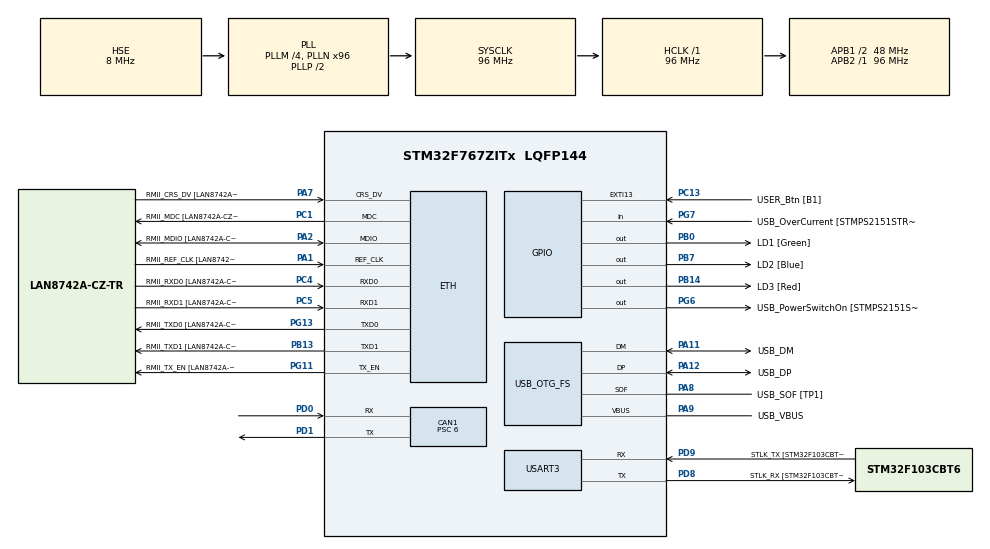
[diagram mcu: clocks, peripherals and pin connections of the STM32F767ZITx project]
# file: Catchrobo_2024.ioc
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CAN1.BS1=CAN_BS1_6TQ
CAN1.CalculateBaudRate=1000000
CAN1.CalculateTimeBit=1000
CAN1.CalculateTimeQuantum=125.0
CAN1.Prescaler=6
CAN1.TXFP=ENABLE
Dma.Request0=USART3_TX
Dma.USART3_TX.0.Direction=DMA_MEMORY_TO_PERIPH
Dma.USART3_TX.0.FIFOMode=DMA_FIFOMODE_DISABLE
Dma.USART3_TX.0.Instance=DMA1_Stream3
Dma.USART3_TX.0.MemDataAlignment=DMA_MDATAALIGN_BYTE
Dma.USART3_TX.0.MemInc=DMA_MINC_ENABLE
Dma.USART3_TX.0.Mode=DMA_NORMAL
Dma.USART3_TX.0.PeriphDataAlignment=DMA_PDATAALIGN_BYTE
Dma.USART3_TX.0.PeriphInc=DMA_PINC_DISABLE
Dma.USART3_TX.0.Priority=DMA_PRIORITY_LOW
ETH.MediaInterface=HAL_ETH_RMII_MODE
ETH.PHY_Name=LAN8742A_PHY_ADDRESS
ETH.PHY_Value=0
ETH.PhyAddress=0
Mcu.Family=STM32F7
Mcu.Name=STM32F767ZITx
Mcu.Package=LQFP144
NVIC.CAN1_RX0_IRQn=true\:0\:0\:false\:false\:true\:true\:true\:true
NVIC.CAN1_RX1_IRQn=true\:0\:0\:false\:false\:true\:true\:true\:true
NVIC.CAN1_TX_IRQn=true\:0\:0\:false\:false\:true\:true\:true\:true
NVIC.DMA1_Stream3_IRQn=true\:0\:0\:false\:false\:true\:false\:true\:true
NVIC.PriorityGroup=NVIC_PRIORITYGROUP_4
NVIC.USART3_IRQn=true\:0\:0\:false\:false\:true\:true\:true\:true
PA1.GPIO_Label=RMII_REF_CLK [LAN8742A-CZ-TR_REFCLK0]
PA1.Mode=RMII
PA1.Signal=ETH_REF_CLK
PA10.GPIO_Label=USB_ID
PA10.Signal=USB_OTG_FS_ID
PA11.GPIO_Label=USB_DM
PA11.Mode=Device_Only
PA11.Signal=USB_OTG_FS_DM
PA12.GPIO_Label=USB_DP
PA12.Mode=Device_Only
PA12.Signal=USB_OTG_FS_DP
PA13.GPIO_Label=TMS
PA13.Mode=Serial_Wire
PA13.Signal=SYS_JTMS-SWDIO
PA14.GPIO_Label=TCK
PA14.Mode=Serial_Wire
PA14.Signal=SYS_JTCK-SWCLK
PA2.GPIO_Label=RMII_MDIO [LAN8742A-CZ-TR_MDIO]
PA2.Mode=RMII
PA2.Signal=ETH_MDIO
PA7.GPIO_Label=RMII_CRS_DV [LAN8742A-CZ-TR_CRS_DV]
PA7.Mode=RMII
PA7.Signal=ETH_CRS_DV
PA8.GPIO_Label=USB_SOF [TP1]
PA8.Mode=Activate_SOF_FS
PA8.Signal=USB_OTG_FS_SOF
PA9.GPIO_Label=USB_VBUS
PA9.Mode=Activate_VBUS
PA9.Signal=USB_OTG_FS_VBUS
PB0.GPIO_Label=LD1 [Green]
PB0.Signal=GPIO_Output
PB13.GPIO_Label=RMII_TXD1 [LAN8742A-CZ-TR_TXD1]
PB13.Mode=RMII
PB13.Signal=ETH_TXD1
PB14.GPIO_Label=LD3 [Red]
PB14.Signal=GPIO_Output
PB3.GPIO_Label=SWO
PB3.Signal=SYS_JTDO-SWO
PB7.GPIO_Label=LD2 [Blue]
PB7.Signal=GPIO_Output
PC1.GPIO_Label=RMII_MDC [LAN8742A-CZ-TR_MDC]
PC1.Mode=RMII
PC1.Signal=ETH_MDC
PC13.GPIO_Label=USER_Btn [B1]
PC13.Signal=GPXTI13
PC14/OSC32_IN.Mode=LSE-External-Oscillator
PC14/OSC32_IN.Signal=RCC_OSC32_IN
PC15/OSC32_OUT.Mode=LSE-External-Oscillator
PC15/OSC32_OUT.Signal=RCC_OSC32_OUT
PC4.GPIO_Label=RMII_RXD0 [LAN8742A-CZ-TR_RXD0]
PC4.Mode=RMII
PC4.Signal=ETH_RXD0
PC5.GPIO_Label=RMII_RXD1 [LAN8742A-CZ-TR_RXD1]
PC5.Mode=RMII
PC5.Signal=ETH_RXD1
PD0.Mode=CAN_Activate
PD0.Signal=CAN1_RX
PD1.Mode=CAN_Activate
PD1.Signal=CAN1_TX
PD8.GPIO_Label=STLK_RX [STM32F103CBT6_PA3]
PD8.Mode=Asynchronous
PD8.Signal=USART3_TX
PD9.GPIO_Label=STLK_TX [STM32F103CBT6_PA2]
PD9.Mode=Asynchronous
PD9.Signal=USART3_RX
PG11.GPIO_Label=RMII_TX_EN [LAN8742A-CZ-TR_TXEN]
PG11.Mode=RMII
PG11.Signal=ETH_TX_EN
PG13.GPIO_Label=RMII_TXD0 [LAN8742A-CZ-TR_TXD0]
PG13.Mode=RMII
PG13.Signal=ETH_TXD0
PG6.GPIO_Label=USB_PowerSwitchOn [STMPS2151STR_EN]
PG6.Signal=GPIO_Output
PG7.GPIO_Label=USB_OverCurrent [STMPS2151STR_FAULT]
PG7.Signal=GPIO_Input
PH0/OSC_IN.GPIO_Label=MCO [STM32F103CBT6_PA8]
PH0/OSC_IN.Mode=HSE-External-Clock-Source
PH0/OSC_IN.Signal=RCC_OSC_IN
PH1/OSC_OUT.Mode=HSE-External-Clock-Source
PH1/OSC_OUT.Signal=RCC_OSC_OUT
ProjectManager.HeapSize=0x200
ProjectManager.StackSize=0x400
ProjectManager.TargetToolchain=STM32CubeIDE
RCC.48MHZClocksFreq_Value=24000000
RCC.AHBFreq_Value=96000000
RCC.APB1CLKDivider=RCC_HCLK_DIV2
RCC.APB1Freq_Value=48000000
RCC.APB1TimFreq_Value=96000000
RCC.APB2Freq_Value=96000000
RCC.APB2TimFreq_Value=96000000
RCC.CortexFreq_Value=96000000
RCC.HCLKFreq_Value=96000000
RCC.HSE_VALUE=8000000
RCC.HSI_VALUE=16000000
RCC.PLLM=4
RCC.PLLMUL=RCC_PLL_MUL9
RCC.PLLN=96
RCC.PLLQ=4
RCC.PRESCALERUSB=RCC_USBCLKSOURCE_PLL_DIV1_5
RCC.SYSCLKFreq_VALUE=96000000
RCC.SYSCLKSource=RCC_SYSCLKSOURCE_PLLCLK
RCC.SYSCLKSourceVirtual=RCC_SYSCLKSOURCE_PLLCLK
RCC.USBFreq_Value=48000000
RCC.VCOOutputFreq_Value=192000000
USART3.OverrunDisableParam=ADVFEATURE_OVERRUN_ENABLE
USART3.VirtualMode-Asynchronous=VM_ASYNC
USB_OTG_FS.VirtualMode=Device_Only
board=NUCLEO-F767ZI

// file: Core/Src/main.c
/* USER CODE BEGIN Header */
/**
  ******************************************************************************
  * @file           : main.c
  * @brief          : Main program body
  ******************************************************************************
  * @attention
  *
  * Copyright (c) 2024 STMicroelectronics.
  * All rights reserved.
  *
  * This software is licensed under terms that can be found in the LICENSE file
  * in the root directory of this software component.
  * If no LICENSE file comes with this software, it is provided AS-IS.
  *
  ******************************************************************************
  */
/* USER CODE END Header */
#include "main.h"
#include "string.h"

/* USER CODE BEGIN Includes */
#include "CAN_Main.h"
/* USER CODE END Includes */

#if defined ( __ICCARM__ ) /*!< IAR Compiler */
#pragma location=0x2007c000
ETH_DMADescTypeDef  DMARxDscrTab[ETH_RX_DESC_CNT]; /* Ethernet Rx DMA Descriptors */
#pragma location=0x2007c0a0
ETH_DMADescTypeDef  DMATxDscrTab[ETH_TX_DESC_CNT]; /* Ethernet Tx DMA Descriptors */

#elif defined ( __CC_ARM )  /* MDK ARM Compiler */

__attribute__((at(0x2007c000))) ETH_DMADescTypeDef  DMARxDscrTab[ETH_RX_DESC_CNT]; /* Ethernet Rx DMA Descriptors */
__attribute__((at(0x2007c0a0))) ETH_DMADescTypeDef  DMATxDscrTab[ETH_TX_DESC_CNT]; /* Ethernet Tx DMA Descriptors */

#elif defined ( __GNUC__ ) /* GNU Compiler */

ETH_DMADescTypeDef DMARxDscrTab[ETH_RX_DESC_CNT] __attribute__((section(".RxDecripSection"))); /* Ethernet Rx DMA Descriptors */
ETH_DMADescTypeDef DMATxDscrTab[ETH_TX_DESC_CNT] __attribute__((section(".TxDecripSection")));   /* Ethernet Tx DMA Descriptors */
#endif

ETH_TxPacketConfig TxConfig;

CAN_HandleTypeDef hcan1;

ETH_HandleTypeDef heth;

UART_HandleTypeDef huart3;
DMA_HandleTypeDef hdma_usart3_tx;

PCD_HandleTypeDef hpcd_USB_OTG_FS;

/* USER CODE BEGIN PV */

NUM_OF_DEVICES num_of_devices;
MCMD_HandleTypedef mcmd3_struct;

/* USER CODE END PV */

void SystemClock_Config(void);
static void MX_GPIO_Init(void);
static void MX_DMA_Init(void);
static void MX_USART3_UART_Init(void);
static void MX_USB_OTG_FS_PCD_Init(void);
static void MX_ETH_Init(void);
static void MX_CAN1_Init(void);

/* USER CODE BEGIN 0 */
#ifdef __GNUC__
#define PUTCHAR_PROTOTYPE int __io_putchar(uint8_t ch)
#else
#define PUTCHAR_PROTOTYPE int fputc(int ch, FILE *f)
#endif /* __GNUC__ */

PUTCHAR_PROTOTYPE {
    HAL_UART_Transmit(&huart3, &ch, 1, 500);
    return ch;
}

// ... ここまではprintfの設定など

void HAL_CAN_TxMailbox0CompleteCallback(CAN_HandleTypeDef *hcan){
    WhenTxMailbox0_1_2CompleteCallbackCalled();
}

void HAL_CAN_TxMailbox0AbortCallback(CAN_HandleTypeDef *hcan){
    WhenTxMailbox0_1_2AbortCallbackCalled();
}

void HAL_CAN_TxMailbox1CompleteCallback(CAN_HandleTypeDef *hcan){
    WhenTxMailbox0_1_2CompleteCallbackCalled();
}

void HAL_CAN_TxMailbox1AbortCallback(CAN_HandleTypeDef *hcan){
    WhenTxMailbox0_1_2AbortCallbackCalled();
}

void HAL_CAN_TxMailbox2CompleteCallback(CAN_HandleTypeDef *hcan){
    WhenTxMailbox0_1_2CompleteCallbackCalled();
}

void HAL_CAN_TxMailbox2AbortCallback(CAN_HandleTypeDef *hcan){
    WhenTxMailbox0_1_2AbortCallbackCalled();
}

void HAL_CAN_RxFifo0MsgPendingCallback(CAN_HandleTypeDef *hcan){
    WhenCANRxFifo0MsgPending(hcan, &num_of_devices);
}
/* USER CODE END 0 */

int main(void)
{

  /* MCU Configuration--------------------------------------------------------*/

  /* Reset of all peripherals, Initializes the Flash interface and the Systick. */
  HAL_Init();

  /* Configure the system clock */
  SystemClock_Config();

  /* Initialize all configured peripherals */
  MX_GPIO_Init();
  MX_DMA_Init();
  MX_USART3_UART_Init();
  MX_USB_OTG_FS_PCD_Init();
  MX_ETH_Init();
  MX_CAN1_Init();
  /* USER CODE BEGIN 2 */

  printf("Start Initializing CAN System:Begin\n\r");
  HAL_Delay(100);

  CAN_SystemInit(&hcan1); // F7のCAN通信のinit

    // デバイス数の設定 (今回はmcmd4が1枚)
  num_of_devices.mcmd3 = 1;
  num_of_devices.mcmd4 = 0;
  num_of_devices.air = 0;
  num_of_devices.servo = 0;

  printf("Start Initializing CAN System:End\n\r");
  HAL_Delay(100);
  CAN_WaitConnect(&num_of_devices);  // 設定された全てのCANモジュール基板との接続が確認できるまで待機

  printf("CAN Finished\n\r");
  // ここからはCANモジュール基板の設定
  // 接続先のMCMDの設定
  mcmd3_struct.device.node_type = NODE_MCMD3;  // nodeのタイプ (NODE_MCMD3など)
  mcmd3_struct.device.node_id = 0;  // 基板の番号 (基板上の半固定抵抗を回す事で設定できる)
  mcmd3_struct.device.device_num = 1;  // モーターの番号(MCMDなら0と1の2つが選べる)

  // 制御パラメータの設定
  mcmd3_struct.ctrl_param.ctrl_type = MCMD_CTRL_DUTY;  // 位置制御を行う
  mcmd3_struct.ctrl_param.PID_param.kp = 0.1f;  // Pゲイン 0.10
  mcmd3_struct.ctrl_param.PID_param.ki = 0.0f;  // Iゲイン 0.0
  mcmd3_struct.ctrl_param.PID_param.kd = 0.0f;  // Dゲイン 0.0 (Dゲインは使いにくい)
  mcmd3_struct.ctrl_param.accel_limit = ACCEL_LIMIT_ENABLE;  // PIDの偏差をclipするか
  mcmd3_struct.ctrl_param.accel_limit_size = 2.0f;  // PIDの偏差をclipする場合の絶対値のmax値
  mcmd3_struct.ctrl_param.feedback = MCMD_FB_ENABLE;  // MCMDからF7にフィードバックを送信するか否か
  mcmd3_struct.ctrl_param.timup_monitor = TIMUP_MONITOR_DISABLE;  // timeupは未実装なのでDISABLE。
  mcmd3_struct.enc_dir = MCMD_DIR_FW;  // Encoderの回転方向設定
  mcmd3_struct.rot_dir = MCMD_DIR_FW;  // モーターの回転方向設定
  mcmd3_struct.quant_per_unit = 0.00205f;  // エンコーダーの分解能に対する制御値の変化量の割合

  // 原点サーチの設定
  mcmd3_struct.limit_sw_type = LIMIT_SW_NC;  // 原点サーチにNomaly Closedのスイッチを用いる
  mcmd3_struct.calib = CALIBRATION_DISABLE;  // 原点サーチを行う。
  mcmd3_struct.calib_duty = -0.1f;  // 原点サーチ時のduty
  mcmd3_struct.offset = 0.0f;  // 原点のオフセット
  mcmd3_struct.fb_type = MCMD_FB_VEL;  // 読み取った位置情報をF7にフィードバックする。

  // パラメータなどの設定と動作命令をMCMDに送信する
  MCMD_init(&mcmd3_struct);
  HAL_Delay(10);
  MCMD_Calib(&mcmd3_struct);  // キャリブレーションを行う
  HAL_Delay(10);
  //MCMD_Wait_For_Calib(&mcmd3_struct);  // キャリブレーションが終わるまで待つ
  MCMD_SetTarget(&mcmd3_struct, 0.3f);  // 目標値(0.0)を設定
  HAL_Delay(10);
  MCMD_Control_Enable(&mcmd3_struct);  // 制御開始
  HAL_Delay(10);

  printf("Finished");
  /* USER CODE END 2 */

  /* Infinite loop */
  while (1)
  {

  }
}

void SystemClock_Config(void)
{
  RCC_OscInitTypeDef RCC_OscInitStruct = {0};
  RCC_ClkInitTypeDef RCC_ClkInitStruct = {0};

  /** Configure LSE Drive Capability
  */
  HAL_PWR_EnableBkUpAccess();

  /** Configure the main internal regulator output voltage
  */
  __HAL_RCC_PWR_CLK_ENABLE();
  __HAL_PWR_VOLTAGESCALING_CONFIG(PWR_REGULATOR_VOLTAGE_SCALE3);

  /** Initializes the RCC Oscillators according to the specified parameters
  * in the RCC_OscInitTypeDef structure.
  */
  RCC_OscInitStruct.OscillatorType = RCC_OSCILLATORTYPE_HSE;
  RCC_OscInitStruct.HSEState = RCC_HSE_BYPASS;
  RCC_OscInitStruct.PLL.PLLState = RCC_PLL_ON;
  RCC_OscInitStruct.PLL.PLLSource = RCC_PLLSOURCE_HSE;
  RCC_OscInitStruct.PLL.PLLM = 4;
  RCC_OscInitStruct.PLL.PLLN = 96;
  RCC_OscInitStruct.PLL.PLLP = RCC_PLLP_DIV2;
  RCC_OscInitStruct.PLL.PLLQ = 4;
  RCC_OscInitStruct.PLL.PLLR = 2;
  if (HAL_RCC_OscConfig(&RCC_OscInitStruct) != HAL_OK)
  {
    Error_Handler();
  }

  /** Activate the Over-Drive mode
  */
  if (HAL_PWREx_EnableOverDrive() != HAL_OK)
  {
    Error_Handler();
  }

  /** Initializes the CPU, AHB and APB buses clocks
  */
  RCC_ClkInitStruct.ClockType = RCC_CLOCKTYPE_HCLK|RCC_CLOCKTYPE_SYSCLK
                              |RCC_CLOCKTYPE_PCLK1|RCC_CLOCKTYPE_PCLK2;
  RCC_ClkInitStruct.SYSCLKSource = RCC_SYSCLKSOURCE_PLLCLK;
  RCC_ClkInitStruct.AHBCLKDivider = RCC_SYSCLK_DIV1;
  RCC_ClkInitStruct.APB1CLKDivider = RCC_HCLK_DIV2;
  RCC_ClkInitStruct.APB2CLKDivider = RCC_HCLK_DIV1;

  if (HAL_RCC_ClockConfig(&RCC_ClkInitStruct, FLASH_LATENCY_3) != HAL_OK)
  {
    Error_Handler();
  }
}

static void MX_CAN1_Init(void)
{

  hcan1.Instance = CAN1;
  hcan1.Init.Prescaler = 6;
  hcan1.Init.Mode = CAN_MODE_NORMAL;
  hcan1.Init.SyncJumpWidth = CAN_SJW_1TQ;
  hcan1.Init.TimeSeg1 = CAN_BS1_6TQ;
  hcan1.Init.TimeSeg2 = CAN_BS2_1TQ;
  hcan1.Init.TimeTriggeredMode = DISABLE;
  hcan1.Init.AutoBusOff = DISABLE;
  hcan1.Init.AutoWakeUp = DISABLE;
  hcan1.Init.AutoRetransmission = DISABLE;
  hcan1.Init.ReceiveFifoLocked = DISABLE;
  hcan1.Init.TransmitFifoPriority = ENABLE;
  if (HAL_CAN_Init(&hcan1) != HAL_OK)
  {
    Error_Handler();
  }

}

static void MX_ETH_Init(void)
{

   static uint8_t MACAddr[6];

  heth.Instance = ETH;
  MACAddr[0] = 0x00;
  MACAddr[1] = 0x80;
  MACAddr[2] = 0xE1;
  MACAddr[3] = 0x00;
  MACAddr[4] = 0x00;
  MACAddr[5] = 0x00;
  heth.Init.MACAddr = &MACAddr[0];
  heth.Init.MediaInterface = HAL_ETH_RMII_MODE;
  heth.Init.TxDesc = DMATxDscrTab;
  heth.Init.RxDesc = DMARxDscrTab;
  heth.Init.RxBuffLen = 1524;

  if (HAL_ETH_Init(&heth) != HAL_OK)
  {
    Error_Handler();
  }

  memset(&TxConfig, 0 , sizeof(ETH_TxPacketConfig));
  TxConfig.Attributes = ETH_TX_PACKETS_FEATURES_CSUM | ETH_TX_PACKETS_FEATURES_CRCPAD;
  TxConfig.ChecksumCtrl = ETH_CHECKSUM_IPHDR_PAYLOAD_INSERT_PHDR_CALC;
  TxConfig.CRCPadCtrl = ETH_CRC_PAD_INSERT;

}

static void MX_USART3_UART_Init(void)
{

  huart3.Instance = USART3;
  huart3.Init.BaudRate = 115200;
  huart3.Init.WordLength = UART_WORDLENGTH_8B;
  huart3.Init.StopBits = UART_STOPBITS_1;
  huart3.Init.Parity = UART_PARITY_NONE;
  huart3.Init.Mode = UART_MODE_TX_RX;
  huart3.Init.HwFlowCtl = UART_HWCONTROL_NONE;
  huart3.Init.OverSampling = UART_OVERSAMPLING_16;
  huart3.Init.OneBitSampling = UART_ONE_BIT_SAMPLE_DISABLE;
  huart3.AdvancedInit.AdvFeatureInit = UART_ADVFEATURE_NO_INIT;
  if (HAL_UART_Init(&huart3) != HAL_OK)
  {
    Error_Handler();
  }

}

static void MX_USB_OTG_FS_PCD_Init(void)
{

  hpcd_USB_OTG_FS.Instance = USB_OTG_FS;
  hpcd_USB_OTG_FS.Init.dev_endpoints = 6;
  hpcd_USB_OTG_FS.Init.speed = PCD_SPEED_FULL;
  hpcd_USB_OTG_FS.Init.dma_enable = DISABLE;
  hpcd_USB_OTG_FS.Init.phy_itface = PCD_PHY_EMBEDDED;
  hpcd_USB_OTG_FS.Init.Sof_enable = ENABLE;
  hpcd_USB_OTG_FS.Init.low_power_enable = DISABLE;
  hpcd_USB_OTG_FS.Init.lpm_enable = DISABLE;
  hpcd_USB_OTG_FS.Init.vbus_sensing_enable = ENABLE;
  hpcd_USB_OTG_FS.Init.use_dedicated_ep1 = DISABLE;
  if (HAL_PCD_Init(&hpcd_USB_OTG_FS) != HAL_OK)
  {
    Error_Handler();
  }

}

static void MX_DMA_Init(void)
{

  /* DMA controller clock enable */
  __HAL_RCC_DMA1_CLK_ENABLE();

  /* DMA interrupt init */
  /* DMA1_Stream3_IRQn interrupt configuration */
  HAL_NVIC_SetPriority(DMA1_Stream3_IRQn, 0, 0);
  HAL_NVIC_EnableIRQ(DMA1_Stream3_IRQn);

}

static void MX_GPIO_Init(void)
{
  GPIO_InitTypeDef GPIO_InitStruct = {0};

  /* GPIO Ports Clock Enable */
  __HAL_RCC_GPIOC_CLK_ENABLE();
  __HAL_RCC_GPIOH_CLK_ENABLE();
  __HAL_RCC_GPIOA_CLK_ENABLE();
  __HAL_RCC_GPIOB_CLK_ENABLE();
  __HAL_RCC_GPIOD_CLK_ENABLE();
  __HAL_RCC_GPIOG_CLK_ENABLE();

  /*Configure GPIO pin Output Level */
  HAL_GPIO_WritePin(GPIOB, LD1_Pin|LD3_Pin|LD2_Pin, GPIO_PIN_RESET);

  /*Configure GPIO pin Output Level */
  HAL_GPIO_WritePin(USB_PowerSwitchOn_GPIO_Port, USB_PowerSwitchOn_Pin, GPIO_PIN_RESET);

  /*Configure GPIO pin : USER_Btn_Pin */
  GPIO_InitStruct.Pin = USER_Btn_Pin;
  GPIO_InitStruct.Mode = GPIO_MODE_IT_RISING;
  GPIO_InitStruct.Pull = GPIO_NOPULL;
  HAL_GPIO_Init(USER_Btn_GPIO_Port, &GPIO_InitStruct);

  /*Configure GPIO pins : LD1_Pin LD3_Pin LD2_Pin */
  GPIO_InitStruct.Pin = LD1_Pin|LD3_Pin|LD2_Pin;
  GPIO_InitStruct.Mode = GPIO_MODE_OUTPUT_PP;
  GPIO_InitStruct.Pull = GPIO_NOPULL;
  GPIO_InitStruct.Speed = GPIO_SPEED_FREQ_LOW;
  HAL_GPIO_Init(GPIOB, &GPIO_InitStruct);

  /*Configure GPIO pin : USB_PowerSwitchOn_Pin */
  GPIO_InitStruct.Pin = USB_PowerSwitchOn_Pin;
  GPIO_InitStruct.Mode = GPIO_MODE_OUTPUT_PP;
  GPIO_InitStruct.Pull = GPIO_NOPULL;
  GPIO_InitStruct.Speed = GPIO_SPEED_FREQ_LOW;
  HAL_GPIO_Init(USB_PowerSwitchOn_GPIO_Port, &GPIO_InitStruct);

  /*Configure GPIO pin : USB_OverCurrent_Pin */
  GPIO_InitStruct.Pin = USB_OverCurrent_Pin;
  GPIO_InitStruct.Mode = GPIO_MODE_INPUT;
  GPIO_InitStruct.Pull = GPIO_NOPULL;
  HAL_GPIO_Init(USB_OverCurrent_GPIO_Port, &GPIO_InitStruct);

}

void Error_Handler(void)
{
  __disable_irq();
  while (1)
  {
  }
}
